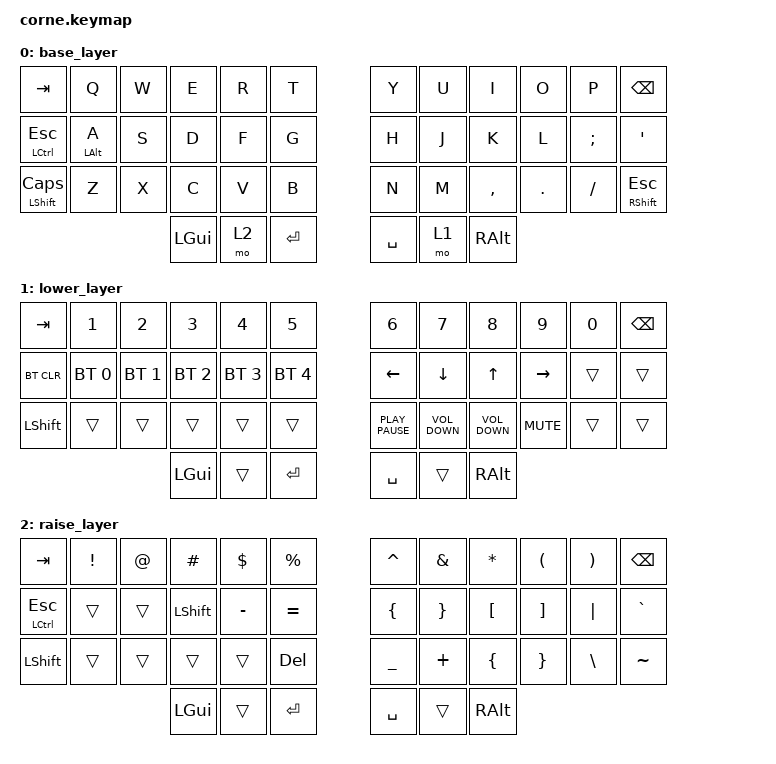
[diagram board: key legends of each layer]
/*
 * Copyright (c) 2020 The ZMK Contributors
 *
 * SPDX-License-Identifier: MIT
 */

#include <behaviors.dtsi>
#include <dt-bindings/zmk/bt.h>
#include <dt-bindings/zmk/keys.h>

/ {
    combos {
        compatible = "zmk,combos";

        df {
            bindings = <&kp ESCAPE>;
            key-positions = <16 15>;
        };
    };

    behaviors {
        new_behavior: new_behavior {
            compatible = "zmk,behavior-hold-tap";
            label = "NEW_BEHAVIOR";
            bindings = <&to>, <&tog>;

            #binding-cells = <2>;
            tapping-term-ms = <20>;
            hold-trigger-key-positions = <40>;
        };
    };

    keymap {
        compatible = "zmk,keymap";

        base_layer {
            // -----------------------------------------------------------------------------------------
            // |  TAB |  Q  |  W  |  E  |  R  |  T  |   |  Y  |  U   |  I  |  O  |  P  | BSPC |
            // | CTRL |  A  |  S  |  D  |  F  |  G  |   |  H  |  J   |  K  |  L  |  ;  |  '   |
            // | SHFT |  Z  |  X  |  C  |  V  |  B  |   |  N  |  M   |  ,  |  .  |  /  | ESC  |
            //                    | GUI | LWR | SPC |   | ENT | RSE  | ALT |

            bindings = <
&kp TAB             &kp Q           &kp W  &kp E     &kp R  &kp T         &kp Y      &kp U  &kp I      &kp O    &kp P     &kp BSPC
&mt LCTRL ESC       &mt LEFT_ALT A  &kp S  &kp D     &kp F  &kp G         &kp H      &kp J  &kp K      &kp L    &kp SEMI  &kp SQT
&mt LSHFT CAPSLOCK  &kp Z           &kp X  &kp C     &kp V  &kp B         &kp N      &kp M  &kp COMMA  &kp DOT  &kp FSLH  &mt RIGHT_SHIFT ESC
                                           &kp LGUI  &mo 2  &kp RETURN    &kp SPACE  &mo 1  &kp RALT
            >;
        };

        lower_layer {
            // -----------------------------------------------------------------------------------------
            // |  TAB |  1  |  2  |  3  |  4  |  5  |   |  6  |  7  |  8  |  9  |  0  | BSPC |
            // | BTCLR| BT1 | BT2 | BT3 | BT4 | BT5 |   | LFT | DWN |  UP | RGT |     |      |
            // | SHFT |     |     |     |     |     |   |     |     |     |     |     |      |
            //                    | GUI |     | SPC |   | ENT |     | ALT |

            bindings = <
&kp TAB     &kp N1        &kp N2        &kp N3        &kp N4        &kp N5          &kp N6            &kp N7             &kp N8             &kp N9      &kp N0  &kp BSPC
&bt BT_CLR  &bt BT_SEL 0  &bt BT_SEL 1  &bt BT_SEL 2  &bt BT_SEL 3  &bt BT_SEL 4    &kp LEFT          &kp DOWN           &kp UP             &kp RIGHT   &trans  &trans
&kp LSHFT   &trans        &trans        &trans        &trans        &trans          &kp K_PLAY_PAUSE  &kp K_VOLUME_DOWN  &kp K_VOLUME_DOWN  &kp K_MUTE  &trans  &trans
                                        &kp LGUI      &trans        &kp RET         &kp SPACE         &trans             &kp RALT
            >;
        };

        raise_layer {
            // -----------------------------------------------------------------------------------------
            // |  TAB |  !  |  @  |  #  |  $  |  %  |   |  ^  |  &  |  *  |  (  |  )  | BSPC |
            // | CTRL |     |     |     |     |     |   |  -  |  =  |  [  |  ]  |  \  |  `   |
            // | SHFT |     |     |     |     |     |   |  _  |  +  |  {  |  }  | "|" |  ~   |
            //                    | GUI |     | SPC |   | ENT |     | ALT |

            bindings = <
&kp TAB           &kp EXCL  &kp AT  &kp HASH        &kp DLLR   &kp PRCNT    &kp CARET       &kp AMPS         &kp ASTRK  &kp LPAR  &kp RPAR       &kp BSPC
&mt LCTRL ESCAPE  &trans    &trans  &kp LEFT_SHIFT  &kp MINUS  &kp EQUAL    &kp LEFT_BRACE  &kp RIGHT_BRACE  &kp LBKT   &kp RBKT  &kp PIPE       &kp GRAVE
&kp LSHFT         &trans    &trans  &trans          &trans     &kp DEL      &kp UNDER       &kp PLUS         &kp LBRC   &kp RBRC  &kp BACKSLASH  &kp TILDE
                                    &kp LGUI        &trans     &kp RET      &kp SPACE       &trans           &kp RALT
            >;
        };
    };
};
